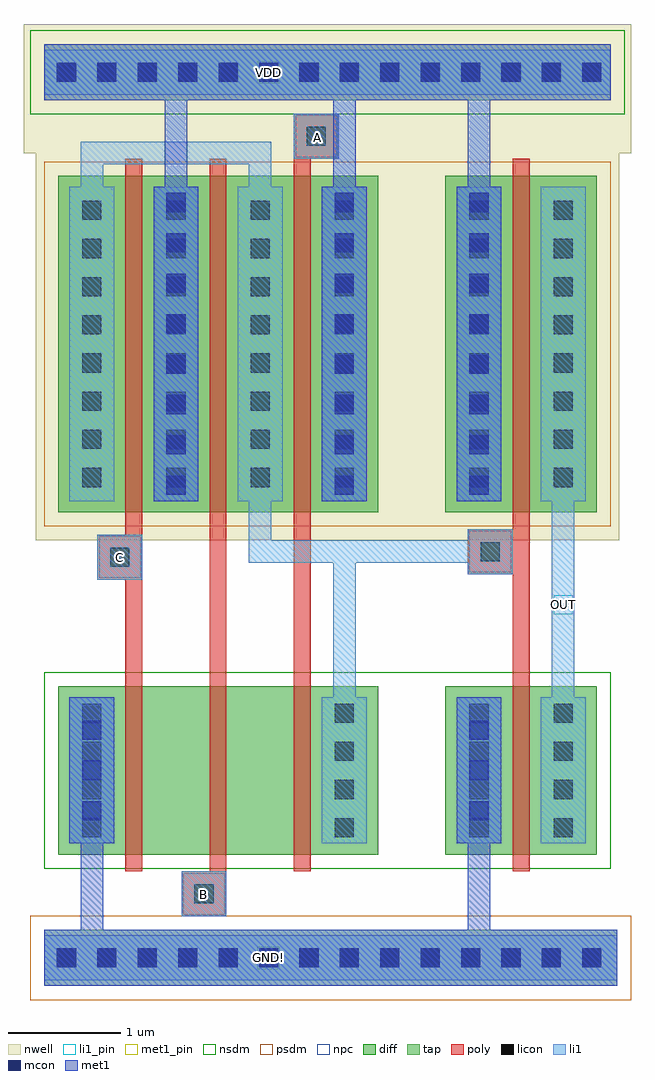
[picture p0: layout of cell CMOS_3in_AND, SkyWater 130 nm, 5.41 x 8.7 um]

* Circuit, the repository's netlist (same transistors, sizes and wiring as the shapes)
* NGSPICE file created from CMOS_3in_AND.ext - technology: sky130A

.subckt CMOS_3in_AND GND A B C OUT VDD
X0 OUT a_n1350_550# VDD VDD sky130_fd_pr__pfet_01v8 ad=1.8e+12p pd=7.2e+06u as=5.4e+12p ps=2.16e+07u w=3e+06u l=150000u
X1 VDD A a_n1350_550# VDD sky130_fd_pr__pfet_01v8 ad=0p pd=0u as=3.6e+12p ps=1.44e+07u w=3e+06u l=150000u
X2 VDD C a_n1350_550# VDD sky130_fd_pr__pfet_01v8 ad=0p pd=0u as=0p ps=0u w=3e+06u l=150000u
X3 a_n1050_n60# B a_n1200_n60# GND sky130_fd_pr__nfet_01v8 ad=9e+11p pd=4.2e+06u as=9e+11p ps=4.2e+06u w=1.5e+06u l=150000u
X4 a_n1350_550# B VDD VDD sky130_fd_pr__pfet_01v8 ad=0p pd=0u as=0p ps=0u w=3e+06u l=150000u
X5 OUT a_n1350_550# GND GND sky130_fd_pr__nfet_01v8 ad=9e+11p pd=4.2e+06u as=1.8e+12p ps=8.4e+06u w=1.5e+06u l=150000u
X6 a_n1350_550# A a_n1050_n60# GND sky130_fd_pr__nfet_01v8 ad=9e+11p pd=4.2e+06u as=0p ps=0u w=1.5e+06u l=150000u
X7 a_n1200_n60# C GND GND sky130_fd_pr__nfet_01v8 ad=0p pd=0u as=0p ps=0u w=1.5e+06u l=150000u
.ends

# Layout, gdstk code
import gdstk
lib = gdstk.Library(unit=1e-6, precision=1e-09)
def R(c, l, rs):  # rectangles x0, y0, x1, y1
    for r in rs: c.add(gdstk.rectangle(r[:2], r[2:], *l))
def A(c, l, x, y, w, h, nx, ny, dx, dy):  # array of equal rectangles
    R(c, l, [(x+i*dx, y+j*dy, x+i*dx+w, y+j*dy+h) for i in range(nx) for j in range(ny)])
nwell = (64, 20)
diff = (65, 20)
tap = (65, 44)
poly = (66, 20)
licon = (66, 44)
li1_pin = (67, 16)
li1 = (67, 20)
mcon = (67, 44)
met1_pin = (68, 16)
met1 = (68, 20)
nsdm = (93, 44)
psdm = (94, 20)
npc = (95, 20)

cmos_3in_and = lib.new_cell('CMOS_3in_AND')
R(cmos_3in_and, nwell, [(-6.95,2.5,-1.75,5.95), (-7.055,5.95,-1.645,7.1)])
R(cmos_3in_and, diff, [(-6.75,-0.3,-3.9,1.2), (-3.3,-0.3,-1.95,1.2), (-6.75,2.75,-3.9,5.75), (-3.3,2.75,-1.95,5.75)])
R(cmos_3in_and, tap, [(-6.875,-1.47,-1.77,-0.97), (-6.875,6.42,-1.825,6.92)])
R(cmos_3in_and, poly, [(-5.65,-0.85,-5.25,-0.45), (-6.15,-0.45,-6,2.15), (-5.4,-0.45,-5.25,5.9), (-4.65,-0.45,-4.5,5.9), (-2.7,-0.45,-2.55,2.2), (-6.4,2.15,-6,2.55), (-3.1,2.2,-2.55,2.6), (-6.15,2.55,-6,5.9), (-2.7,2.6,-2.55,5.9), (-4.65,5.9,-4.25,6.3)])
A(cmos_3in_and, licon, -6.76, -1.305, 0.17, 0.17, 6, 2, 0.36, 7.89)
A(cmos_3in_and, licon, -4.96, -1.305, 0.17, 0.17, 9, 2, 0.36, 7.89)
A(cmos_3in_and, licon, -6.535, -0.145, 0.17, 0.17, 1, 4, 0, 0.34)
A(cmos_3in_and, licon, -4.285, -0.145, 0.17, 0.17, 1, 4, 0, 0.34)
A(cmos_3in_and, licon, -3.085, -0.145, 0.17, 0.17, 1, 4, 0, 0.34)
A(cmos_3in_and, licon, -2.335, -0.145, 0.17, 0.17, 1, 4, 0, 0.34)
A(cmos_3in_and, licon, -6.535, 2.975, 0.17, 0.17, 4, 8, 0.75, 0.34)
A(cmos_3in_and, licon, -3.085, 2.975, 0.17, 0.17, 1, 8, 0, 0.34)
A(cmos_3in_and, licon, -2.335, 2.975, 0.17, 0.17, 1, 8, 0, 0.34)
R(cmos_3in_and, licon, [(-4.96,-1.305,-4.79,-1.135), (-5.535,-0.735,-5.365,-0.565), (-6.285,2.265,-6.115,2.435), (-2.985,2.315,-2.815,2.485), (-4.535,6.015,-4.365,6.185), (-4.96,6.585,-4.79,6.755)])
R(cmos_3in_and, li1_pin, [(-5.535,-0.735,-5.365,-0.565), (-2.335,1.84,-2.165,2.01), (-6.285,2.265,-6.115,2.435), (-4.535,6.015,-4.365,6.185)])
A(cmos_3in_and, li1, -6.65, 2.85, 0.4, 2.8, 4, 1, 0.75, 0)
R(cmos_3in_and, li1, [(-6.875,-1.42,-1.77,-1.02), (-5.65,-0.85,-5.25,-0.45), (-6.65,-0.2,-6.25,1.1), (-4.4,-0.2,-4,1.1), (-3.2,-0.2,-2.8,1.1), (-2.45,-0.2,-2.05,1.1), (-4.3,1.1,-4.1,2.3), (-2.35,1.1,-2.15,2.85), (-6.4,2.15,-6,2.55), (-3.1,2.2,-2.7,2.3), (-5.05,2.3,-2.7,2.5), (-5.05,2.5,-4.85,2.85), (-3.1,2.5,-2.7,2.6), (-3.2,2.85,-2.8,5.65), (-2.45,2.85,-2.05,5.65), (-6.55,5.65,-6.35,5.85), (-5.05,5.65,-4.85,5.85), (-6.55,5.85,-4.85,6.05), (-4.65,5.9,-4.25,6.3), (-6.875,6.47,-1.825,6.87)])
A(cmos_3in_and, mcon, -6.76, -1.305, 0.17, 0.17, 6, 2, 0.36, 7.89)
A(cmos_3in_and, mcon, -4.96, -1.305, 0.17, 0.17, 9, 2, 0.36, 7.89)
A(cmos_3in_and, mcon, -6.535, 0.005, 0.17, 0.17, 1, 3, 0, 0.36)
A(cmos_3in_and, mcon, -3.085, 0.005, 0.17, 0.17, 1, 3, 0, 0.36)
A(cmos_3in_and, mcon, -5.785, 2.905, 0.17, 0.17, 1, 8, 0, 0.36)
A(cmos_3in_and, mcon, -4.285, 2.905, 0.17, 0.17, 1, 8, 0, 0.36)
A(cmos_3in_and, mcon, -3.085, 2.905, 0.17, 0.17, 1, 8, 0, 0.36)
R(cmos_3in_and, mcon, [(-4.96,-1.305,-4.79,-1.135), (-4.96,6.585,-4.79,6.755)])
R(cmos_3in_and, met1_pin, [(-4.975,-1.32,-4.775,-1.12), (-4.975,6.57,-4.775,6.77)])
R(cmos_3in_and, met1, [(-6.875,-1.47,-1.77,-0.97), (-6.65,-0.2,-6.25,1.1), (-3.2,-0.2,-2.8,1.1), (-5.9,2.85,-5.5,5.65), (-4.4,2.85,-4,5.65), (-3.2,2.85,-2.8,5.65), (-6.875,6.42,-1.825,6.92)])
R(cmos_3in_and, nsdm, [(-6.875,-0.425,-1.825,1.325), (-7,6.295,-1.7,7.045)])
R(cmos_3in_and, psdm, [(-7,-1.595,-1.645,-0.845), (-6.875,2.625,-1.825,5.875)])
R(cmos_3in_and, npc, [(-5.635,-0.835,-5.265,-0.465), (-6.385,2.165,-6.015,2.535), (-3.085,2.215,-2.715,2.585), (-4.635,5.915,-4.265,6.285)])
cmos_3in_and.add(gdstk.FlexPath([(-5.7,5.65),(-5.7,6.42)], 0.2, ends="flush", simple_path=True, layer=68, datatype=20))  # met1
cmos_3in_and.add(gdstk.FlexPath([(-4.2,5.65),(-4.2,6.42)], 0.2, ends="flush", simple_path=True, layer=68, datatype=20))  # met1
cmos_3in_and.add(gdstk.FlexPath([(-3,5.65),(-3,6.42)], 0.2, ends="flush", simple_path=True, layer=68, datatype=20))  # met1
cmos_3in_and.add(gdstk.FlexPath([(-6.45,-0.2),(-6.45,-0.97)], 0.2, ends="flush", simple_path=True, layer=68, datatype=20))  # met1
cmos_3in_and.add(gdstk.FlexPath([(-3,-0.2),(-3,-0.97)], 0.2, ends="flush", simple_path=True, layer=68, datatype=20))  # met1
cmos_3in_and.add(gdstk.Label('VDD', (-4.875,6.67), layer=68, texttype=16))
cmos_3in_and.add(gdstk.Label('GND!', (-4.875,-1.22), layer=68, texttype=16))
cmos_3in_and.add(gdstk.Label('A', (-4.44,6.09), layer=67, texttype=16))
cmos_3in_and.add(gdstk.Label('B', (-5.455,-0.655), layer=67, texttype=16))
cmos_3in_and.add(gdstk.Label('C', (-6.2,2.345), layer=67, texttype=16))
cmos_3in_and.add(gdstk.Label('OUT', (-2.245,1.925), layer=67, texttype=16))

lib.write_gds('CMOS_3in_AND.gds')
